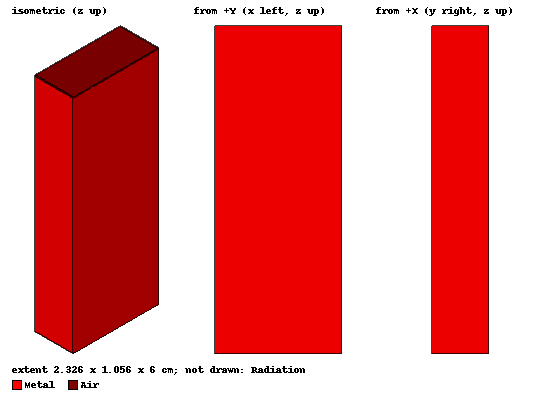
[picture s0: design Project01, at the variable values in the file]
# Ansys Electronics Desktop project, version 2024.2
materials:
  vacuum: permittivity=1
  Duroid (tm): permittivity=2.2 dielectric_loss_tangent=0.0009
  Poly Lactic Acid: permittivity=3.1 permeability=3
  copper: permeability=0.999991 conductivity=58000000
  air: permittivity=1.0006 permeability=1.0000004

design Project01 (HFSS, HFSS Hybrid Modal Network, model units cm)
options: Allow_Material_Override Save_Adaptive_support_files
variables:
  # --Antenna Dimensions
  patchX = 1.19cm
  patchY = 0.91cm
  # --Substrate Dimensions
  subH = 0.1575cm
  subX = 2.7cm
  subY = 2.87cm
  # --Feed Dimensions
  InsetDistance = 0.276cm
  InsetGap = 0.247cm
  FeedWidth = 0.493cm
  FeedLength = 0.914cm
  a = 22.86mm
  b = 10.16mm
  L = 60mm
  th = 0.2mm
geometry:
  Box1 = box(corner=(-a/2, -b/2, 0cm), size=(a, b, L))
  Metal [copper] = box(corner=(-a/2-th, -b/2-th, 0cm), size=(a+2*th, b+2*th, L))
  Metal.subtract(Box1)
  Air [air] = box(corner=(-a/2, -b/2, 0cm), size=(a, b, L))
  Radiation [air] = box(corner=(-a/2-5mm, -b/2-5mm, 0mm), size=(a+10mm, b+10mm, L))
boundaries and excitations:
  Rad1: Radiation Objects=Radiation
  1: Wave Port Faces=Air.face(+z) WavePortType=Default NumModes=4 Modes{Mode1{IntLine{(0, -0.508, 6) -> (0cm, 50cm, 600cm)} CharImp=Zpi} Mode2{CharImp=Zpi} Mode3{CharImp=Zpi} Mode4{CharImp=Zpi}}
  2: Wave Port Faces=Air.face(-z) WavePortType=Default NumModes=4 Modes{Mode1{IntLine{(-5cm, -50cm, 0cm) -> (-5cm, 50cm, 0cm)} CharImp=Zpi} Mode2{CharImp=Zpi} Mode3{CharImp=Zpi} Mode4{CharImp=Zpi}}
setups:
  ATK_Solution: HfssDriven Frequency=10GHz MaxDeltaS=0.02 MaximumPasses=12 MinimumPasses=1 MinimumConvergedPasses=1 PercentRefinement=30 BasisOrder=1 PortAccuracy=2 DrivenSolverType="Direct Solver" IESolverType=ACA
    sweep FF_Sweep: 17GHz to 17GHz, 10 points; 6.56GHz to 6.56GHz, 1 points; Type=Discrete SaveFields
    sweep SParam_Sweep: 5GHz to 15GHz, 100 points; Type=Interpolating InterpTolerance=0.5 InterpMaxSolns=250 InterpUsePortImped=false InterpUsePropConst=false PassivityErrorTolerance=0.0001
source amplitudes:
  1:1: 1W 0deg
  1:2, 1:3, 1:4, 2:1..2:4: 0W 0deg
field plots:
  Mag_E1: E Field in Air on ATK_Solution : FF_Sweep at Freq=17GHz Phase=0deg
